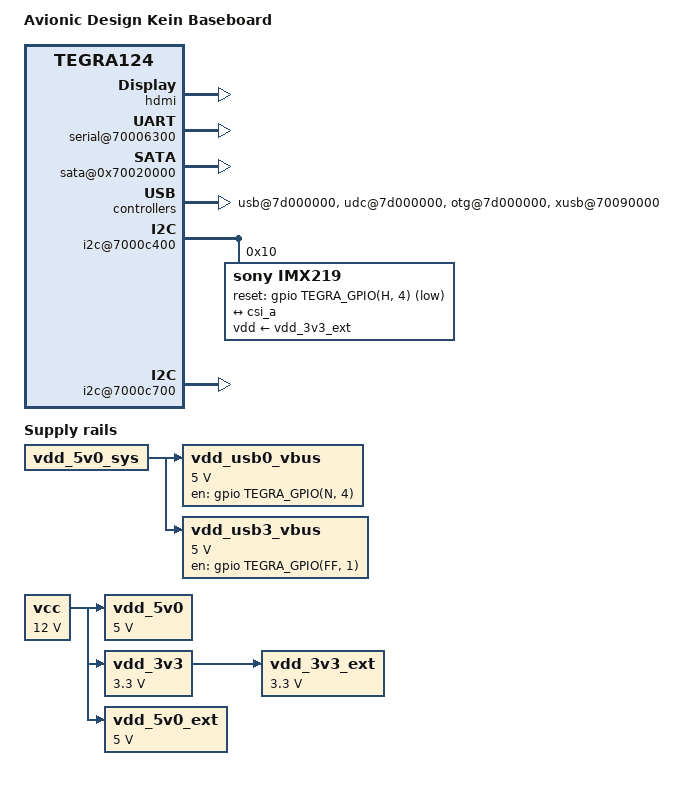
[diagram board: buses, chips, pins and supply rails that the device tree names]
/dts-v1/;

#include <dt-bindings/display/tegra-dc.h>
#include <dt-bindings/usb/tegra-ehci.h>
#include <dt-bindings/usb/tegra-xhci.h>

#include "tegra124-meerkat.dtsi"

/ {
	model = "Avionic Design Kein Baseboard";
	compatible = "ad,kein-baseboard", "ad,meerkat", "nvidia,tegra124";
	nvidia,dtsfilename = __FILE__;

	host1x {
		vi {
			port@0 {
				reg = <0>;
				csi_a: endpoint {
					remote-endpoint = <&cam_csi>;
				};
			};
		};

		dc@54200000 {
			status = "okay";

			nvidia,dc-connection = "external-display";
			vdd_hdmi_5v0-supply = <&vdd_5v0>;
		};

		hdmi {
			status = "okay";
		};
	};

	serial@70006300 {
		status = "okay";
	};

	/* SATA */
	sata@0x70020000 {
		status = "okay";
		vdd_sata-supply = <&vdd_5v0>;
	};

	/* Recovery USB */
	usb@7d000000 {
		status = "okay";
		nvidia,port-otg;
		nvidia,remote-wakeup-supported;
		nvidia,power-off-on-suspend;

		usb_vbus-supply = <&vdd_usb0_vbus>;
	};

	udc@7d000000 {
		status = "okay";

		usb_vbus-supply = <&vdd_usb0_vbus>;
	};

	otg@7d000000 {
		status = "okay";

		usb_vbus-supply = <&vdd_usb0_vbus>;
	};

	/* USB 3.0 */
	xusb@70090000 {
		status = "okay";
		nvidia,gpio_ss1_sata = <0>;
		nvidia,portmap = <(XUSB_MUX_USB2_P2 | XUSB_MUX_SS_P1)>;
		nvidia,ss_portmap = <XUSB_PADCTL_SS_PORTMAP(DISABLE, P2)>;
		nvidia,lane_owner = <2>; /* PCIe lane1 owner = USB3_SS port1 */
		nvidia,ulpicap = <0>;
		usb_vbus2-supply = <&vdd_usb3_vbus>;
	};

	i2c@7000c400 {
		status = "okay";

		imx219@10 {
			compatible = "sony,imx219";
			reg = <0x10>;

			vdd-supply = <&vdd_3v3_ext>;

			reset-gpio = <&gpio TEGRA_GPIO(H, 4) GPIO_ACTIVE_LOW>;

			port {
				cam_csi: endpoint {
					remote-endpoint = <&csi_a>;
				};
			};
		};
	};

	/* HDMI DDC */
	i2c@7000c700 {
		status = "okay";
	};

	hda@70030000 {
		status = "okay";
	};

	avp-audio {
		compatible = "nvidia,tegra124-avp-audio", "nvidia,tegra30-avp-audio";
	};

	audio-offload {
		compatible = "nvidia,tegra-offload";
	};

	regulators {
		vcc: regulator@99 {
			compatible = "regulator-fixed";
			reg = <99>;
			regulator-name = "VCC";
			regulator-min-microvolt = <12000000>;
			regulator-max-microvolt = <12000000>;
			regulator-always-on;
			regulator-boot-on;
		};

		vdd_5v0: regulator@100 {
			compatible = "regulator-fixed";
			reg = <100>;
			regulator-name = "+VDD_5V";
			regulator-min-microvolt = <5000000>;
			regulator-max-microvolt = <5000000>;
			regulator-always-on;
			regulator-boot-on;
			vin-supply = <&vcc>;
		};

		vdd_3v3: regulator@101 {
			compatible = "regulator-fixed";
			reg = <101>;
			regulator-name = "+VDD_3V3";
			regulator-min-microvolt = <3300000>;
			regulator-max-microvolt = <3300000>;
			regulator-always-on;
			regulator-boot-on;
			vin-supply = <&vcc>;
		};

		vdd_usb0_vbus: regulator@102 {
			compatible = "regulator-fixed";
			reg = <102>;
			regulator-name = "USB0_VBUS";
			regulator-min-microvolt = <5000000>;
			regulator-max-microvolt = <5000000>;
			gpio = <&gpio TEGRA_GPIO(N, 4) GPIO_ACTIVE_HIGH>;
			enable-active-high;
			gpio-open-drain;
			vin-supply = <&vdd_5v0_sys>;
		};

		vdd_usb3_vbus: regulator@103 {
			compatible = "regulator-fixed";
			reg = <103>;
			regulator-name = "+USB3.0_VCC";
			regulator-min-microvolt = <5000000>;
			regulator-max-microvolt = <5000000>;
			gpio = <&gpio TEGRA_GPIO(FF, 1) GPIO_ACTIVE_HIGH>;
			enable-active-high;
			gpio-open-drain;
			vin-supply = <&vdd_5v0_sys>;
		};

		vdd_5v0_ext: regulator@104 {
			compatible = "regulator-fixed";
			reg = <104>;
			regulator-name = "+5V_EXT";
			regulator-min-microvolt = <5000000>;
			regulator-max-microvolt = <5000000>;
			regulator-always-on;
			regulator-boot-on;
			vin-supply = <&vcc>;
		};

		vdd_3v3_ext: regulator@105 {
			compatible = "regulator-fixed";
			reg = <105>;
			regulator-name = "+3V3_EXT";
			regulator-min-microvolt = <3300000>;
			regulator-max-microvolt = <3300000>;
			regulator-always-on;
			regulator-boot-on;
			vin-supply = <&vdd_3v3>;
		};

	};

	pwm-fan {
		status = "okay";
	};
};
